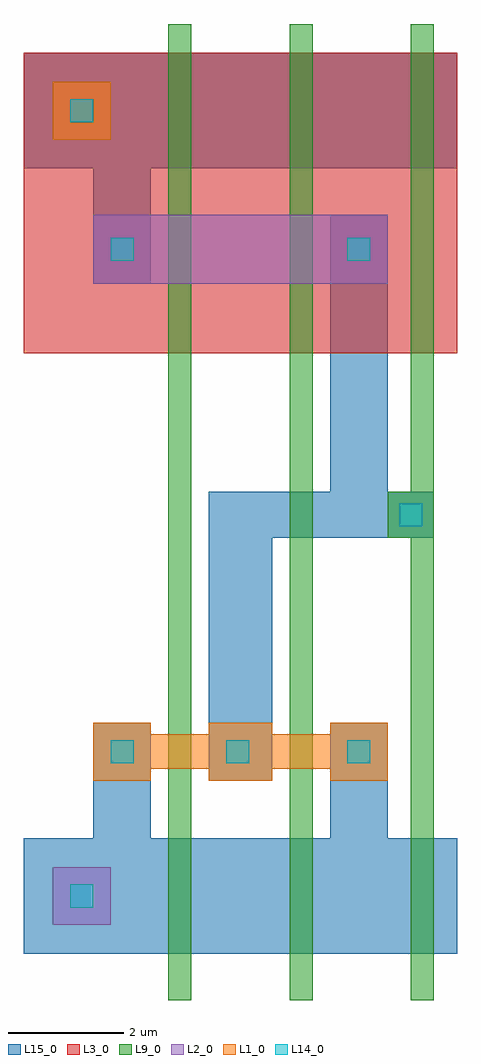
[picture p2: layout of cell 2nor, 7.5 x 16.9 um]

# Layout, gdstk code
import gdstk
lib = gdstk.Library(unit=1e-6, precision=1e-09)
def R(c, l, rs):  # rectangles x0, y0, x1, y1
    for r in rs: c.add(gdstk.rectangle(r[:2], r[2:], *l))
def P(c, l, *ps):  # polygons
    for p in ps: c.add(gdstk.Polygon(p, *l))
L1_0 = (1, 0)
L2_0 = (2, 0)
L3_0 = (3, 0)
L9_0 = (9, 0)
L14_0 = (14, 0)
L15_0 = (15, 0)

c_2nor = lib.new_cell('2nor')
R(c_2nor, L1_0, [(-4.6,9.5,-3.6,10.5)])
P(c_2nor, L1_0, [(-1.9,-0.8),(-2.9,-0.8),(-2.9,-0.6),(-3.9,-0.6),(-3.9,-1.6),(-2.9,-1.6),(-2.9,-1.4),(-1.9,-1.4),(-1.9,-1.6),(-0.8,-1.6),(-0.8,-1.4),(0.2,-1.4),(0.2,-1.6),(1.2,-1.6),(1.2,-0.6),(0.2,-0.6),(0.2,-0.8),(-0.8,-0.8),(-0.8,-0.6),(-1.9,-0.6)])
R(c_2nor, L2_0, [(-4.6,-4.1,-3.6,-3.1), (-3.9,7,1.2,8.2)])
R(c_2nor, L3_0, [(-5.1,5.8,2.4,11)])
R(c_2nor, L9_0, [(-2.6,-5.4,-2.2,11.5), (-0.5,-5.4,-0.1,11.5), (1.6,-5.4,2,-1.9)])
P(c_2nor, L9_0, [(2,-1.9),(2,11.5),(1.6,11.5),(1.6,3.4),(1.2,3.4),(1.2,2.6),(1.6,2.6),(1.6,-1.9)])
R(c_2nor, L14_0, [(-4.3,-3.8,-3.9,-3.4), (-3.6,-1.3,-3.2,-0.9), (-1.6,-1.3,-1.2,-0.9), (0.5,-1.3,0.9,-0.9), (1.4,2.8,1.8,3.2), (-3.6,7.4,-3.2,7.8), (0.5,7.4,0.9,7.8), (-4.3,9.8,-3.9,10.2)])
P(c_2nor, L15_0, [(0.2,-2.6),(-2.9,-2.6),(-2.9,-0.6),(-3.9,-0.6),(-3.9,-2.6),(-5.1,-2.6),(-5.1,-4.6),(2.4,-4.6),(2.4,-2.6),(1.2,-2.6),(1.2,-0.6),(0.2,-0.6)],
  [(2.4,9),(2.4,11),(-5.1,11),(-5.1,9),(-3.9,9),(-3.9,7),(-2.9,7),(-2.9,9)],
  [(2,3.4),(1.2,3.4),(1.2,8.2),(0.2,8.2),(0.2,3.4),(-1.9,3.4),(-1.9,-1.6),(-0.8,-1.6),(-0.8,2.6),(2,2.6)])

lib.write_gds('2nor.gds')
